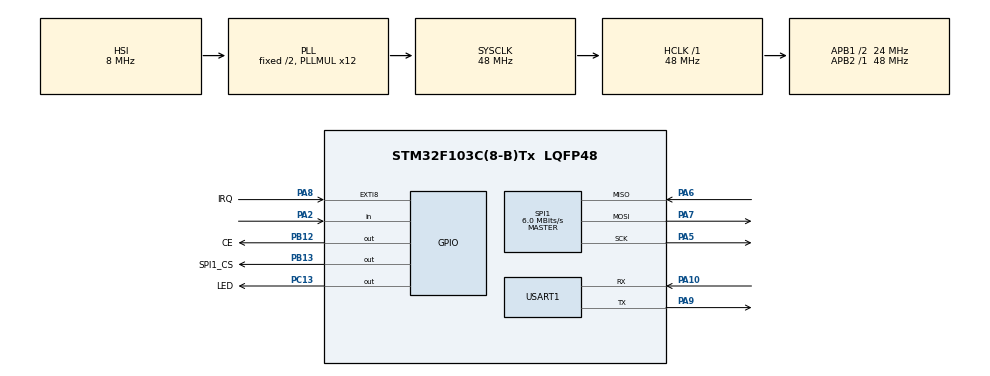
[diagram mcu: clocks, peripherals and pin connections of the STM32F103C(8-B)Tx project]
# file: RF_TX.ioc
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Mcu.Family=STM32F1
Mcu.Name=STM32F103C(8-B)Tx
Mcu.Package=LQFP48
NVIC.EXTI9_5_IRQn=true\:0\:0\:false\:true\:true\:1\:true\:true\:true
NVIC.PriorityGroup=NVIC_PRIORITYGROUP_4
NVIC.TIM1_BRK_IRQn=true\:0\:0\:false\:false\:true\:true\:true\:true
NVIC.TIM1_CC_IRQn=true\:0\:0\:false\:false\:true\:true\:true\:true
NVIC.TIM1_TRG_COM_IRQn=true\:0\:0\:false\:false\:true\:true\:true\:true
NVIC.TIM1_UP_IRQn=true\:0\:0\:false\:false\:true\:true\:true\:true
PA10.Mode=Asynchronous
PA10.Signal=USART1_RX
PA13.Mode=Serial_Wire
PA13.Signal=SYS_JTMS-SWDIO
PA14.Mode=Serial_Wire
PA14.Signal=SYS_JTCK-SWCLK
PA2.GPIO_PuPd=GPIO_PULLUP
PA2.Signal=GPIO_Input
PA5.Mode=Full_Duplex_Master
PA5.Signal=SPI1_SCK
PA6.Mode=Full_Duplex_Master
PA6.Signal=SPI1_MISO
PA7.Mode=Full_Duplex_Master
PA7.Signal=SPI1_MOSI
PA8.GPIO_Label=IRQ
PA8.GPIO_ModeDefaultEXTI=GPIO_MODE_IT_FALLING
PA8.GPIO_PuPd=GPIO_PULLUP
PA8.Signal=GPXTI8
PA9.Mode=Asynchronous
PA9.Signal=USART1_TX
PB12.GPIO_Label=CE
PB12.GPIO_Speed=GPIO_SPEED_FREQ_HIGH
PB12.Signal=GPIO_Output
PB13.GPIO_Label=SPI1_CS
PB13.GPIO_Speed=GPIO_SPEED_FREQ_HIGH
PB13.PinState=GPIO_PIN_SET
PB13.Signal=GPIO_Output
PC13-TAMPER-RTC.GPIO_Label=LED
PC13-TAMPER-RTC.PinState=GPIO_PIN_SET
PC13-TAMPER-RTC.Signal=GPIO_Output
ProjectManager.HeapSize=0x200
ProjectManager.StackSize=0x400
ProjectManager.TargetToolchain=STM32CubeIDE
RCC.AHBFreq_Value=48000000
RCC.APB1CLKDivider=RCC_HCLK_DIV2
RCC.APB1Freq_Value=24000000
RCC.APB1TimFreq_Value=48000000
RCC.APB2Freq_Value=48000000
RCC.APB2TimFreq_Value=48000000
RCC.HCLKFreq_Value=48000000
RCC.PLLMUL=RCC_PLL_MUL12
RCC.SYSCLKFreq_VALUE=48000000
RCC.SYSCLKSource=RCC_SYSCLKSOURCE_PLLCLK
RCC.USBFreq_Value=48000000
SPI1.BaudRatePrescaler=SPI_BAUDRATEPRESCALER_8
SPI1.CalculateBaudRate=6.0 MBits/s
SPI1.Direction=SPI_DIRECTION_2LINES
SPI1.Mode=SPI_MODE_MASTER
SPI1.VirtualType=VM_MASTER
TIM1.Period=1000
TIM1.Prescaler=480
USART1.VirtualMode=VM_ASYNC
VP_TIM1_VS_ClockSourceINT.Mode=Internal
board=custom

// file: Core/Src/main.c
/* USER CODE BEGIN Header */
/**
  ******************************************************************************
  * @file           : main.c
  * @brief          : Main program body
  ******************************************************************************
  * @attention
  *
  * Copyright (c) 2024 STMicroelectronics.
  * All rights reserved.
  *
  * This software is licensed under terms that can be found in the LICENSE file
  * in the root directory of this software component.
  * If no LICENSE file comes with this software, it is provided AS-IS.
  *
  ******************************************************************************
  */
/* USER CODE END Header */
#include "main.h"
#include "spi.h"
#include "tim.h"
#include "usart.h"
#include "gpio.h"

/* USER CODE BEGIN Includes */
#include "nRF24L01.h"
#include "string.h"
#include "stdio.h"
#define TX_Process 0
/* USER CODE END Includes */

/* USER CODE BEGIN PV */
char buf[10] = {'t','e','s','t','1','2','3'};
uint8_t tx_data [NRF24L01P_PAYLOAD_LENGTH] = {0,1,2,3,4,5,6,7};
uint8_t rx_data[NRF24L01P_PAYLOAD_LENGTH] = {0, };
uint8_t retry ;
uint8_t TRIE =0; // TX_RX_Interrupt Enable;
//for rx_interrupt
/* USER CODE END PV */

void SystemClock_Config(void);
static void MX_NVIC_Init(void);

int main(void)
{
  /* USER CODE BEGIN 1 */
//   PWR_CR_PLS;

  /* USER CODE END 1 */

  /* MCU Configuration--------------------------------------------------------*/

  /* Reset of all peripherals, Initializes the Flash interface and the Systick. */
  HAL_Init();

  /* Configure the system clock */
  SystemClock_Config();

  /* Initialize all configured peripherals */
  MX_GPIO_Init();
  MX_SPI1_Init();
  MX_USART1_UART_Init();
  MX_TIM1_Init();

  /* Initialize interrupts */
  MX_NVIC_Init();
  /* USER CODE BEGIN 2 */
#if TX_Process
  nrf24l01p_tx_init(2500, _1Mbps);
  TRIE = 0;

#else
  nrf24l01p_rx_init(2500, _1Mbps);
  TRIE = 1;
#endif

  /* USER CODE END 2 */

  /* Infinite loop */
  /* USER CODE BEGIN WHILE */
  while (1)
  {

#if TX_Process
 ///////// TRANSMITTER CODE
 buf[0] = '#' ; buf[1] = 'N'; buf[2] = '1';
 nrf24l01p_tx_transmit(buf);
 HAL_Delay(100);

 retry = 100;
while(retry --)
{
	HAL_Delay(10);
	if((rx_data[0] == 'O') && (rx_data[1] == 'K'))
	{
	   sprintf((char *)buf,"%c%c%c\n",rx_data[0],rx_data[1],rx_data[2]);
	   HAL_UART_Transmit(&huart1, buf, 4, 100);
       rx_data[0] = rx_data[1] = rx_data[2] = '\0';
       nrf24l01p_tx_init(2500, _1Mbps);
       break;
	}
}
#else
 ///////// RECIEVER CODE
  retry = 100;
  while(retry -- )
  {
	  if((rx_data[0] == '#') && (rx_data[1] == 'N') && (rx_data[2] == '1'))
	  {
		  sprintf((char *)buf,"%c%c%c",rx_data[0],rx_data[1],rx_data[2]);
		  HAL_UART_Transmit(&huart1, buf, 4, 100);
		 // nrf24l01p_tx_init(2500, _1Mbps);
		  buf[0] = 'O';
		  buf[1] = 'K';
		  buf[2] = '\n';
		  nrf24l01p_tx_transmit(buf);
		  HAL_Delay(100);
		  rx_data[0]  =  rx_data[1]  =  rx_data[2] = '\0';
		  nrf24l01p_rx_init(2500, _1Mbps);
		  HAL_Delay(10);
		  break;
	  }
  }
#endif

    /* USER CODE END WHILE */

  }
}
void SystemClock_Config(void)
{
  RCC_OscInitTypeDef RCC_OscInitStruct = {0};
  RCC_ClkInitTypeDef RCC_ClkInitStruct = {0};

  /** Initializes the RCC Oscillators according to the specified parameters
  * in the RCC_OscInitTypeDef structure.
  */
  RCC_OscInitStruct.OscillatorType = RCC_OSCILLATORTYPE_HSI;
  RCC_OscInitStruct.HSIState = RCC_HSI_ON;
  RCC_OscInitStruct.HSICalibrationValue = RCC_HSICALIBRATION_DEFAULT;
  RCC_OscInitStruct.PLL.PLLState = RCC_PLL_ON;
  RCC_OscInitStruct.PLL.PLLSource = RCC_PLLSOURCE_HSI_DIV2;
  RCC_OscInitStruct.PLL.PLLMUL = RCC_PLL_MUL12;
  if (HAL_RCC_OscConfig(&RCC_OscInitStruct) != HAL_OK)
  {
    Error_Handler();
  }

  /** Initializes the CPU, AHB and APB buses clocks
  */
  RCC_ClkInitStruct.ClockType = RCC_CLOCKTYPE_HCLK|RCC_CLOCKTYPE_SYSCLK
                              |RCC_CLOCKTYPE_PCLK1|RCC_CLOCKTYPE_PCLK2;
  RCC_ClkInitStruct.SYSCLKSource = RCC_SYSCLKSOURCE_PLLCLK;
  RCC_ClkInitStruct.AHBCLKDivider = RCC_SYSCLK_DIV1;
  RCC_ClkInitStruct.APB1CLKDivider = RCC_HCLK_DIV2;
  RCC_ClkInitStruct.APB2CLKDivider = RCC_HCLK_DIV1;

  if (HAL_RCC_ClockConfig(&RCC_ClkInitStruct, FLASH_LATENCY_1) != HAL_OK)
  {
    Error_Handler();
  }
}

/**
  * @brief NVIC Configuration.
  * @retval None
  */
static void MX_NVIC_Init(void)
{
  /* EXTI9_5_IRQn interrupt configuration */
  HAL_NVIC_SetPriority(EXTI9_5_IRQn, 0, 0);
  HAL_NVIC_EnableIRQ(EXTI9_5_IRQn);
}

/* USER CODE BEGIN 4 */
void HAL_TIM_PeriodElapsedCallback(TIM_HandleTypeDef* htim)
{
//  if(htim == &htim1){
//#if TX_Process
//     ticker++;
//     if(ticker > 10)
//     {
//		// nrf24l01p_tx_transmit(tx_data);
//		 nrf24l01p_tx_transmit(buf);
//		// HAL_Delay(100);
//		ticker = 0;
//     }
//#endif

//  }

}
void HAL_GPIO_EXTI_Callback(uint16_t GPIO_Pin){

   if(TRIE == 0)
   {
	  if(GPIO_Pin == NRF24L01P_IRQ_PIN_NUMBER)
	  {
		         nrf24l01p_tx_irq();//clear interrupt flag
		         //nrf24l01p_rx_receive(rx_data); // read data when data ready flag is set

	  }
   }
   if(TRIE == 1)
   {
	  if(GPIO_Pin == NRF24L01P_IRQ_PIN_NUMBER)
	  {
	 		nrf24l01p_rx_receive(rx_data); // read data when data ready flag is set
            TRIE = 1;
	  }
   }
}
/* USER CODE END 4 */

void Error_Handler(void)
{
  __disable_irq();
  while (1)
  {
  }
}
